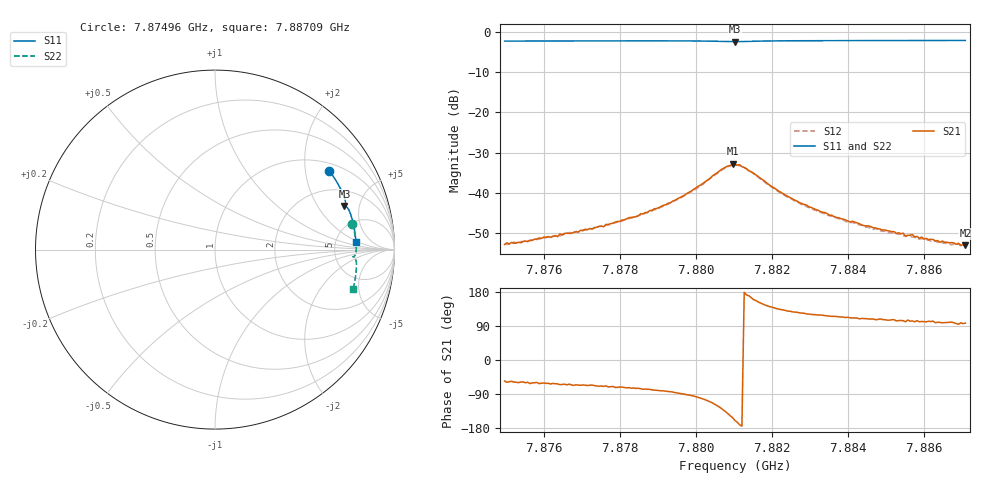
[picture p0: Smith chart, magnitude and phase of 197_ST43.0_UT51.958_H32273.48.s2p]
#  HZ  S  DB  R  50.00
! Rohde & Schwarz Vector Network Analyzer
! Rohde-Schwarz,ZNB20-2Port,1311601062101988,3.16
! Created: UTC 1/12/2023, 6:44:02 PM
! freq[Hz]  db:S11  ang:S11  db:S21  ang:S21  db:S12  ang:S12  db:S22  ang:S22
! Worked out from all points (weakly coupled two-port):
!   201 points, 7.87496 GHz to 7.88709 GHz, reference 50 ohm
!   highest |S21| = -32.77 dB at 7.88096 GHz (marker M1); lowest = -53.1 dB at 7.88709 GHz (marker M2)
!   lowest |S11| = -2.4 dB at 7.88102 GHz (marker M3), VSWR 7.35, Z = 154 + j177 ohm
!   |S11| at or under -10 dB: nowhere
!   |S22| runs from -2.3 to -1.9 dB; largest |S21 - S12| = 0.002
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7.874959e9  -2.24 34.6  -52.86 -55.4  -52.77 -59.9  -2.17 10.7
7.875565e9  -2.23 32.9  -52.18 -58.8  -51.94 -64.4  -2.15 9.3
7.87599e9  -2.22 31.8  -51.02 -60.6  -51.36 -66.6  -2.14 8.3
7.876354e9  -2.21 30.8  -50.93 -63.1  -50.71 -67.0  -2.13 7.4
7.876415e9  -2.21 30.6  -50.23 -65.0  -50.77 -65.6  -2.13 7.3
7.877021e9  -2.20 29.0  -49.47 -66.0  -49.24 -70.2  -2.12 5.8
7.877749e9  -2.19 27.0  -47.68 -70.4  -47.92 -74.4  -2.10 4.2
7.879023e9  -2.19 23.4  -43.66 -80.5  -43.90 -84.3  -2.08 1.2
7.87969e9  -2.19 21.5  -40.63 -90.2  -40.75 -93.4  -2.08 -0.5
7.880721e9  -2.33 18.7  -33.92 -132.0  -34.12 -135.2  -2.21 -2.9
7.880964e9  -2.38 18.6  -32.77 -152.5  -33.19 -156.7  -2.27 -3.0
7.881024e9  -2.38 18.6  -32.98 -159.7  -33.11 -162.4  -2.26 -2.9
7.881327e9  -2.33 18.4  -34.03 171.8  -34.06 169.6  -2.23 -2.9
7.882237e9  -2.17 16.1  -39.89 132.8  -40.17 129.7  -2.05 -4.8
7.883086e9  -2.13 13.7  -43.91 119.8  -44.20 116.5  -2.00 -6.9
7.884057e9  -2.11 11.0  -47.26 111.4  -47.44 108.4  -1.98 -9.1
7.885088e9  -2.10 8.3  -49.53 105.1  -49.99 102.8  -1.96 -11.4
7.885452e9  -2.10 7.3  -50.08 103.7  -50.69 100.9  -1.96 -12.2
7.885513e9  -2.10 7.2  -50.77 100.9  -50.89 100.9  -1.96 -12.4
7.885695e9  -2.09 6.7  -50.41 103.2  -51.06 98.8  -1.95 -12.8
7.885876e9  -2.09 6.2  -51.33 101.0  -51.56 97.9  -1.96 -13.2
7.88709e9  -2.08 3.1  -53.12 97.3  -53.30 93.4  -1.94 -15.8
